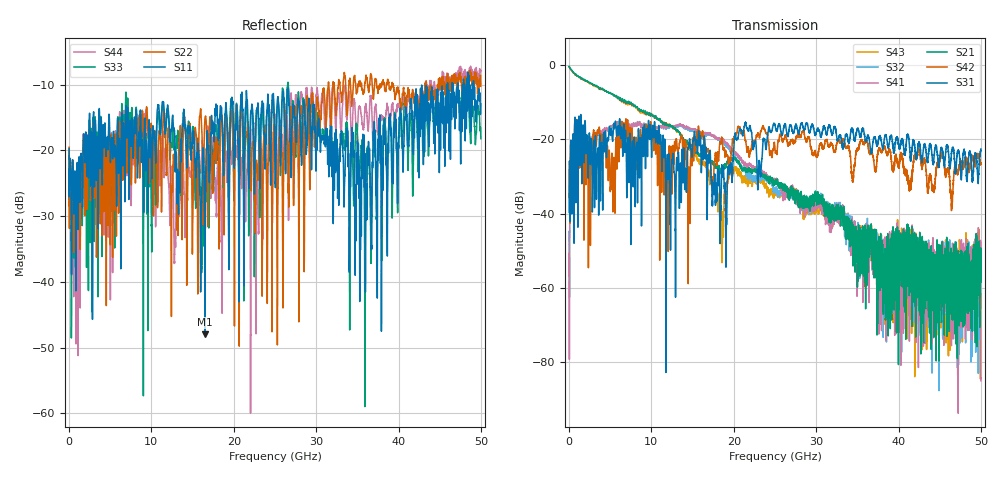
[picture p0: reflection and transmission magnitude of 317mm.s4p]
!Agilent Technologies,N5245A,MY51251349,A.09.33.09
!Agilent N5245A: A.09.33.09
!Date: Tuesday, September 29, 2020 16:19:03
!Correction: S11(Full 4 Port(1,2,3,4))
!S12(Full 4 Port(1,2,3,4))
!S13(Full 4 Port(1,2,3,4))
!S14(Full 4 Port(1,2,3,4))
!S21(Full 4 Port(1,2,3,4))
!S22(Full 4 Port(1,2,3,4))
!S23(Full 4 Port(1,2,3,4))
!S24(Full 4 Port(1,2,3,4))
!S31(Full 4 Port(1,2,3,4))
!S32(Full 4 Port(1,2,3,4))
!S33(Full 4 Port(1,2,3,4))
!S34(Full 4 Port(1,2,3,4))
!S41(Full 4 Port(1,2,3,4))
!S42(Full 4 Port(1,2,3,4))
!S43(Full 4 Port(1,2,3,4))
!S44(Full 4 Port(1,2,3,4))
!S4P File: Measurements: <S11,S12,S13,S14>,
!<S21,S22,S23,S24>,
!<S31,S32,S33,S34>,
!<S41,S42,S43,S44>:
# Hz S  dB  R 50
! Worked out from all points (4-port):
!   6401 points, 10 MHz to 50 GHz, reference 50 ohm
!   strongest paths, dB at 10 MHz, 12.51 GHz, 25 GHz, 37.5 GHz, 50 GHz:
!     S31: -39.7, -26.2, -16.2, -21.0, -22.6
!     S42: -35.7, -30.6, -22.5, -23.6, -26.3
!     S21: -0.3, -16.5, -31.1, -48.7, -51.8
!     S41: -56.7, -16.4, -31.0, -51.4, -85.0
!     S32: -45.0, -16.5, -33.7, -49.9, -61.7
!     S43: -0.5, -16.6, -34.5, -45.6, -63.2
!   lowest |S11| = -48.0 dB at 16.5 GHz (marker M1), VSWR 1.01, Z = 50.1 - j0.381 ohm
!   |S11| at or under -10 dB: start of sweep to 45.95 GHz; 47.21 GHz to 47.87 GHz (661.7 MHz wide, 1.39 % of centre); 49.13 GHz to end of sweep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
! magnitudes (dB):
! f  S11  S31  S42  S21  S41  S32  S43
! 10 MHz  -19.7  -39.7  -35.7  -0.3  -56.7  -45.0  -0.5
! 736.4 MHz  -24.6  -14.1  -14.3  -2.5  -31.6  -30.2  -2.6
! 2.908 GHz  -18.1  -26.9  -19.6  -5.2  -18.8  -18.9  -5.4
! 16.5 GHz  -48.0  -23.2  -21.1  -24.9  -18.3  -18.8  -26.7
! 18.52 GHz  -13.8  -28.1  -19.6  -29.4  -20.0  -20.6  -45.2
! 21.44 GHz  -13.4  -15.5  -20.6  -28.6  -26.9  -29.0  -31.0
! 50 GHz  -12.9  -22.6  -26.3  -51.8  -85.0  -61.7  -63.2
